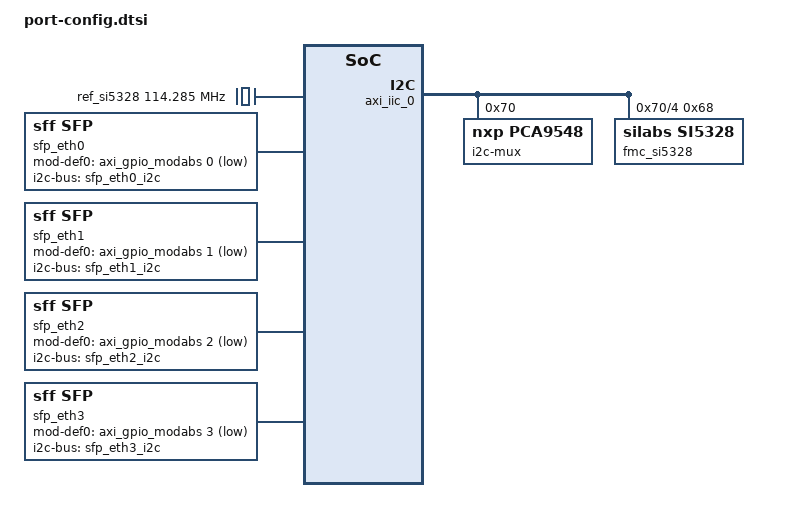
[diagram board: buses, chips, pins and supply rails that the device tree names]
/* Port configuration overlay for the Quad SFP28 FMC (MRMAC), all four SFP28
 * ports on the VCK190 (FMCP1).
 *
 * All four ports are clients of the SINGLE MRMAC hard block (BD cell "mrmac",
 * MRMAC_X0Y0). The SDT generator emits one DT node per MAC port from that one
 * instance, in port order:
 *   mrmac   : port 0    mrmac_1 : port 1
 *   mrmac_2 : port 2    mrmac_3 : port 3
 * Per-port peripherals live in the sfp_port<N> BD hierarchies:
 *   sfp_port<N>_axi_mcdma   : the port's AXI MCDMA datapath
 *   sfp_port<N>_axi_gpio_gt : the port's GT control GPIO (gpiochip):
 *       outputs 0..4 = gt_reset_all, gt_reset_tx_datapath, gt_reset_rx_datapath,
 *                      gt-ctrl-rate[0:1] (spare)
 *       inputs  5..6 = gt_tx_reset_done, gt_rx_reset_done
 * Shared peripherals:
 *   axi_iic_0       : I2C to the FMC PCA9548 mux (ch0-3 = SFP module I2C,
 *                     ch4 = Si5328 clock generator)
 *   axi_gpio_modabs : 4-bit input GPIO, MOD_ABS of slots 0-3 (active-low
 *                     presence)
 *
 * The Si5328 jitter-attenuating clock generator sources the GT reference
 * clock (GBTCLK0): the clk-si5324 driver programs it to 322.265625 MHz
 * (LCPLL integer-N), the GT refclk of the MRMAC example designs and the AMD
 * VCK190 Ethernet TRD, at both the 10G and 25G line rates.
 *
 * The interrupt numbers follow the BD's pl_ps_irq assignment (GIC SPI 84 +
 * irq index): port N MCDMA mm2s/s2mm = SPI 84+2N / 85+2N, axi_iic_0 = SPI 92.
 *
 * MAC addresses: the SDT assigns sequential per-port MACs
 * (00:0a:35:00:00:00..03); local-mac-address is set here anyway so the
 * assignment is explicit and stable.
 *
 * The MRMAC ports bind to the xilinx_axienet driver (CONFIG_XILINX_AXI_EMAC +
 * CONFIG_AXIENET_HAS_MCDMA). The driver:
 *   - takes its datapath from axistream-connected (the port's MCDMA, whose
 *     compatible is overridden to "xlnx,eth-dma" so the standalone xilinx_dma
 *     dmaengine driver doesn't claim the region first and break the probe)
 *   - resets the port's GT lane through the gt-*-gpios below
 *   - reads the line rate from max-speed / xlnx,mrmac-rate
 *   - drives netdev carrier from RX block-lock via the carrier-monitor patch
 *     (0002-net-axienet-mrmac-carrier-link-monitor.patch)
 *
 * The SFP cage nodes (sff,sfp) give module presence detection, EEPROM and
 * diagnostics (hwmon) through the kernel SFP framework. The axienet/MRMAC
 * driver has no phylink so the cages are NOT linked to the MACs - they are
 * standalone management devices.
 */

/ {
	ref_si5328: ref_si5328 {
		compatible = "fixed-clock";
		#clock-cells = <0>;
		clock-frequency = <114285000>;
	};
};

&axi_iic_0 {
	i2c-mux@70 {
		compatible = "nxp,pca9548";
		#address-cells = <1>;
		#size-cells = <0>;
		reg = <0x70>;
		sfp_eth0_i2c: i2c@0 {
			#address-cells = <1>;
			#size-cells = <0>;
			reg = <0>;
			/* SFP28 slot 0 */
		};
		sfp_eth1_i2c: i2c@1 {
			#address-cells = <1>;
			#size-cells = <0>;
			reg = <1>;
			/* SFP28 slot 1 */
		};
		sfp_eth2_i2c: i2c@2 {
			#address-cells = <1>;
			#size-cells = <0>;
			reg = <2>;
			/* SFP28 slot 2 */
		};
		sfp_eth3_i2c: i2c@3 {
			#address-cells = <1>;
			#size-cells = <0>;
			reg = <3>;
			/* SFP28 slot 3 */
		};
		i2c@4 {
			#address-cells = <1>;
			#size-cells = <0>;
			reg = <4>;
			fmc_si5328: clock-generator@68 {
				status = "okay";
				compatible = "silabs,si5328";
				reg = <0x68>;
				#address-cells = <1>;
				#size-cells = <0>;
				#clock-cells = <1>;
				clocks = <&ref_si5328>;
				clock-names = "xtal";

				fmc_si5328_clk: clk0@0 {
					reg = <0>;
					clock-frequency = <322265625>; /* MRMAC GT refclk (LCPLL integer-N) */
				};
			};
		};
	};
};

/* SFP cage descriptors. mod-def0-gpios references the 4-bit input
 * channel of axi_gpio_modabs - line indices 0..3 are mod_abs[0..3].
 * Active-low: line LOW = module present, line HIGH = module absent. */
/ {
	sfp_eth0: sfp-eth0 {
		compatible = "sff,sfp";
		i2c-bus = <&sfp_eth0_i2c>;
		mod-def0-gpios = <&axi_gpio_modabs 0 1>;
		maximum-power-milliwatt = <2000>;
	};

	sfp_eth1: sfp-eth1 {
		compatible = "sff,sfp";
		i2c-bus = <&sfp_eth1_i2c>;
		mod-def0-gpios = <&axi_gpio_modabs 1 1>;
		maximum-power-milliwatt = <2000>;
	};

	sfp_eth2: sfp-eth2 {
		compatible = "sff,sfp";
		i2c-bus = <&sfp_eth2_i2c>;
		mod-def0-gpios = <&axi_gpio_modabs 2 1>;
		maximum-power-milliwatt = <2000>;
	};

	sfp_eth3: sfp-eth3 {
		compatible = "sff,sfp";
		i2c-bus = <&sfp_eth3_i2c>;
		mod-def0-gpios = <&axi_gpio_modabs 3 1>;
		maximum-power-milliwatt = <2000>;
	};
};

/* ----- SFP28 port 0 (FMC DP0, MRMAC port 0) ----- */
&mrmac {
	axistream-connected = <&sfp_port0_axi_mcdma>;
	interrupt-names = "mm2s_ch1_introut", "s2mm_ch1_introut";
	interrupt-parent = <&gic>;
	interrupts = <0 84 4>, <0 85 4>; /* port 0 MCDMA mm2s/s2mm (pl_ps_irq0/1) */
	local-mac-address = [00 0a 35 00 00 00];
	xlnx,channel-ids = "1";
	xlnx,num-queues = /bits/ 16 <0x1>;
	xlnx,addrwidth = <0x20>;
	max-speed = <25000>;
	gt-ctrl-gpios        = <&sfp_port0_axi_gpio_gt 0 0>;
	gt-tx-dpath-gpios    = <&sfp_port0_axi_gpio_gt 1 0>;
	gt-rx-dpath-gpios    = <&sfp_port0_axi_gpio_gt 2 0>;
	gt-ctrl-rate-gpios   = <&sfp_port0_axi_gpio_gt 3 0>, <&sfp_port0_axi_gpio_gt 4 0>;
	gt-tx-rst-done-gpios = <&sfp_port0_axi_gpio_gt 5 0>;
	gt-rx-rst-done-gpios = <&sfp_port0_axi_gpio_gt 6 0>;
	xlnx,gtlane = <0>;
};
&sfp_port0_axi_mcdma {
	compatible = "xlnx,eth-dma";
};

/* ----- SFP28 port 1 (FMC DP1, MRMAC port 1) ----- */
&mrmac_1 {
	axistream-connected = <&sfp_port1_axi_mcdma>;
	interrupt-names = "mm2s_ch1_introut", "s2mm_ch1_introut";
	interrupt-parent = <&gic>;
	interrupts = <0 86 4>, <0 87 4>; /* port 1 MCDMA mm2s/s2mm (pl_ps_irq2/3) */
	local-mac-address = [00 0a 35 00 00 01];
	xlnx,channel-ids = "1";
	xlnx,num-queues = /bits/ 16 <0x1>;
	xlnx,addrwidth = <0x20>;
	max-speed = <25000>;
	gt-ctrl-gpios        = <&sfp_port1_axi_gpio_gt 0 0>;
	gt-tx-dpath-gpios    = <&sfp_port1_axi_gpio_gt 1 0>;
	gt-rx-dpath-gpios    = <&sfp_port1_axi_gpio_gt 2 0>;
	gt-ctrl-rate-gpios   = <&sfp_port1_axi_gpio_gt 3 0>, <&sfp_port1_axi_gpio_gt 4 0>;
	gt-tx-rst-done-gpios = <&sfp_port1_axi_gpio_gt 5 0>;
	gt-rx-rst-done-gpios = <&sfp_port1_axi_gpio_gt 6 0>;
	xlnx,gtlane = <1>;
};
&sfp_port1_axi_mcdma {
	compatible = "xlnx,eth-dma";
};

/* ----- SFP28 port 2 (FMC DP2, MRMAC port 2) ----- */
&mrmac_2 {
	axistream-connected = <&sfp_port2_axi_mcdma>;
	interrupt-names = "mm2s_ch1_introut", "s2mm_ch1_introut";
	interrupt-parent = <&gic>;
	interrupts = <0 88 4>, <0 89 4>; /* port 2 MCDMA mm2s/s2mm (pl_ps_irq4/5) */
	local-mac-address = [00 0a 35 00 00 02];
	xlnx,channel-ids = "1";
	xlnx,num-queues = /bits/ 16 <0x1>;
	xlnx,addrwidth = <0x20>;
	max-speed = <25000>;
	gt-ctrl-gpios        = <&sfp_port2_axi_gpio_gt 0 0>;
	gt-tx-dpath-gpios    = <&sfp_port2_axi_gpio_gt 1 0>;
	gt-rx-dpath-gpios    = <&sfp_port2_axi_gpio_gt 2 0>;
	gt-ctrl-rate-gpios   = <&sfp_port2_axi_gpio_gt 3 0>, <&sfp_port2_axi_gpio_gt 4 0>;
	gt-tx-rst-done-gpios = <&sfp_port2_axi_gpio_gt 5 0>;
	gt-rx-rst-done-gpios = <&sfp_port2_axi_gpio_gt 6 0>;
	xlnx,gtlane = <2>;
};
&sfp_port2_axi_mcdma {
	compatible = "xlnx,eth-dma";
};

/* ----- SFP28 port 3 (FMC DP3, MRMAC port 3) ----- */
&mrmac_3 {
	axistream-connected = <&sfp_port3_axi_mcdma>;
	interrupt-names = "mm2s_ch1_introut", "s2mm_ch1_introut";
	interrupt-parent = <&gic>;
	interrupts = <0 90 4>, <0 91 4>; /* port 3 MCDMA mm2s/s2mm (pl_ps_irq6/7) */
	local-mac-address = [00 0a 35 00 00 03];
	xlnx,channel-ids = "1";
	xlnx,num-queues = /bits/ 16 <0x1>;
	xlnx,addrwidth = <0x20>;
	max-speed = <25000>;
	gt-ctrl-gpios        = <&sfp_port3_axi_gpio_gt 0 0>;
	gt-tx-dpath-gpios    = <&sfp_port3_axi_gpio_gt 1 0>;
	gt-rx-dpath-gpios    = <&sfp_port3_axi_gpio_gt 2 0>;
	gt-ctrl-rate-gpios   = <&sfp_port3_axi_gpio_gt 3 0>, <&sfp_port3_axi_gpio_gt 4 0>;
	gt-tx-rst-done-gpios = <&sfp_port3_axi_gpio_gt 5 0>;
	gt-rx-rst-done-gpios = <&sfp_port3_axi_gpio_gt 6 0>;
	xlnx,gtlane = <3>;
};
&sfp_port3_axi_mcdma {
	compatible = "xlnx,eth-dma";
};
